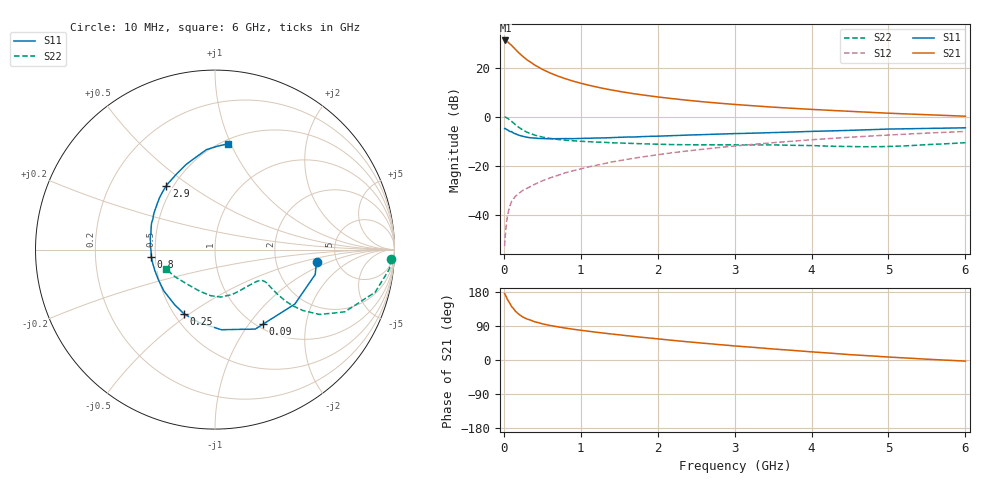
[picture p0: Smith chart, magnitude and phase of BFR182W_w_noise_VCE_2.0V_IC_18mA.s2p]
! Infineon Technologies  Discrete & RF Semiconductors
! BFR182W
! VCE =  2.0 V,  IC =  18 mA
! Common Emitter S-Parameters:  Jan 2017
# GHz  S  MA  R  50
!  f  S11  S21  S12  S22
! GHz  MAG  ANG  MAG  ANG  MAG  ANG  MAG  ANG
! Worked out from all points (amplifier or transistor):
!   77 points, 10 MHz to 6 GHz, reference 50 ohm
!   highest |S21| = 31.0 dB at 20 MHz (marker M1)
!   |S21| within 3 dB of that: start of sweep to 131.1 MHz
!   unconditionally stable (mu >= 1): 746.2 MHz to 2.439 GHz
!   at 130 MHz: K = 0.42, MSG = 30.7 dB, |S12| = -33.3 dB
!   at 2.2 GHz: K = 1.02, MAG = 10.2 dB, |S12| = -14.7 dB
!   at 6 GHz: K = 0.87, MSG = 3.1 dB, |S12| = -6.0 dB
!   lowest NFmin = 1.34 dB at 450 MHz
!   S11 on the Smith chart (normalised r, x): 10 MHz: 3.49, -0.74; 90 MHz: 1.07, -1.17; 250 MHz: 0.56, -0.48; 800 MHz: 0.47, -0.04; 2.9 GHz: 0.46, +0.41; 6 GHz: 0.54, +0.97
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0.01  0.5704 -7.2  35.58 175.4  0.0023 94.4  0.9798 -3.0
0.02  0.5752 -14.0  35.63 171.2  0.0039 82.7  0.978 -6.3
0.05  0.5385 -34.3  33.43 158.5  0.0101 77.2  0.9234 -14.9
0.09  0.4943 -57.1  29.18 145.2  0.0169 70.8  0.8237 -23.2
0.1  0.4965 -63.1  28.4 141.3  0.0186 69.9  0.8019 -25.6
0.15  0.4479 -85.4  23.54 128.8  0.0238 63.3  0.6859 -31.8
0.2  0.4161 -102.1  19.63 119.9  0.0276 62.3  0.5969 -34.7
0.25  0.3973 -115.7  16.69 113.1  0.0319 60.8  0.5318 -35.9
0.3  0.3808 -126.1  14.39 108.3  0.0345 61.4  0.4824 -36.1
0.4  0.3663 -141.1  11.27 100.9  0.0418 63.5  0.4211 -35.4
0.5  0.3574 -152.1  9.195 95.5  0.0492 65.0  0.384 -34.4
0.6  0.3549 -160.7  7.777 91.2  0.0566 66.6  0.3596 -33.5
0.8  0.3574 -173.6  5.926 84.2  0.0718 68.8  0.3318 -32.7
0.9  0.356 -178.4  5.286 81.2  0.079 68.9  0.3229 -32.9
1.1  0.3629 172.7  4.381 75.9  0.0945 69.2  0.3094 -33.8
1.5  0.3794 159.5  3.271 66.4  0.1267 68.7  0.2902 -38.2
2.1  0.4052 144.0  2.417 53.8  0.1761 65.7  0.2719 -49.7
2.9  0.4463 127.5  1.825 38.9  0.2433 60.0  0.2665 -69.1
3.1  0.4551 123.6  1.728 35.6  0.2603 58.3  0.2656 -73.9
4.1  0.5053 107.2  1.38 20.1  0.3466 49.4  0.2543 -98.1
5.1  0.5619 93.6  1.158 6.7  0.43 39.4  0.2497 -132.3
6  0.5926 83.2  1.021 -3.0  0.4995 30.0  0.2948 -159.0
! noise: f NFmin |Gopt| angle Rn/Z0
0.45  1.34  0.07  174  0.15
0.9  1.41  0.08  179  0.15
1.9  1.93  0.27  -144  0.15
2.4  2.18  0.27  -129  0.24
